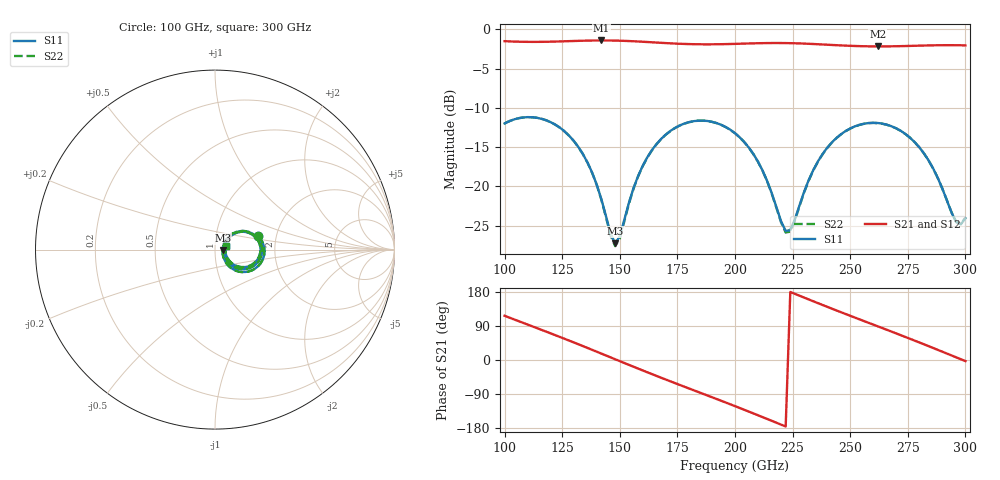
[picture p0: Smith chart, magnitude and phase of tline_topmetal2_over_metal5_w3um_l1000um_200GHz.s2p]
#  GHZ S DB R 50
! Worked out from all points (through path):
!   101 points, 100 GHz to 300 GHz, reference 50 ohm
!   highest |S21| = -1.43 dB at 142 GHz (marker M1); lowest = -2.2 dB at 262 GHz (marker M2)
!   group delay of S21, straight-line fit = 6.67 ps
!   lowest |S11| = -27.3 dB at 148 GHz (marker M3), VSWR 1.09, Z = 54.5 - j0.458 ohm
!   |S11| at or under -10 dB: start of sweep to end of sweep
!   |S22| runs from -27.6 to -11.2 dB; largest |S21 - S12| = 9.3e-14
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100  -11.99 17.5  -1.53 116.7  -1.53 116.7  -11.99 17.3
110  -11.18 -2.0  -1.61 93.5  -1.61 93.5  -11.19 -2.2
118  -11.58 -17.6  -1.60 74.9  -1.60 74.9  -11.58 -17.9
126  -12.99 -32.7  -1.54 56.0  -1.54 56.0  -13.00 -33.1
134  -15.89 -45.7  -1.47 36.7  -1.47 36.7  -15.90 -46.3
142  -21.62 -47.9  -1.43 16.9  -1.43 16.9  -21.69 -49.0
148  -27.25 -5.5  -1.45 1.9  -1.45 1.9  -27.59 -6.0
158  -18.63 42.8  -1.57 -22.8  -1.57 -22.8  -18.68 43.5
168  -13.94 30.4  -1.74 -46.9  -1.74 -46.9  -13.96 30.8
184  -11.63 1.2  -1.92 -84.3  -1.92 -84.3  -11.65 1.3
200  -13.23 -28.2  -1.87 -121.8  -1.87 -121.8  -13.24 -28.2
210  -16.86 -42.2  -1.79 -145.9  -1.79 -145.9  -16.87 -42.4
222  -25.66 -9.8  -1.77 -175.5  -1.77 -175.5  -25.85 -10.1
224  -25.54 9.9  -1.78 179.5  -1.78 179.5  -25.74 10.2
234  -17.90 40.2  -1.89 154.9  -1.89 154.9  -17.95 40.8
248  -12.95 21.6  -2.09 121.4  -2.09 121.4  -12.97 22.0
262  -11.93 -3.6  -2.19 88.8  -2.19 88.8  -11.95 -3.3
268  -12.35 -14.4  -2.18 74.8  -2.18 74.8  -12.36 -14.0
278  -14.36 -30.9  -2.11 51.1  -2.11 51.1  -14.38 -30.5
286  -17.71 -39.1  -2.05 31.7  -2.05 31.7  -17.72 -38.7
296  -24.54 -12.5  -2.04 7.1  -2.04 7.1  -24.48 -12.0
300  -24.04 19.1  -2.06 -2.8  -2.06 -2.8  -23.97 19.2
